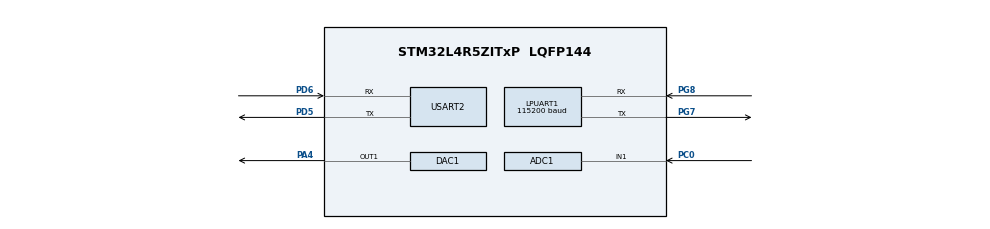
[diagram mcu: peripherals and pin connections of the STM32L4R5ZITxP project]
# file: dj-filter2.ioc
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ADC1.Channel-1\#ChannelRegularConversion=ADC_CHANNEL_1
ADC1.ClockPrescaler=ADC_CLOCK_ASYNC_DIV32
ADC1.NbrOfConversionFlag=1
ADC1.OffsetNumber-1\#ChannelRegularConversion=ADC_OFFSET_NONE
ADC1.Rank-1\#ChannelRegularConversion=1
ADC1.SamplingTime-1\#ChannelRegularConversion=ADC_SAMPLETIME_640CYCLES_5
ADC1.master=1
DAC1.DAC_Trigger-DAC_OUT1=DAC_TRIGGER_T2_TRGO
Dma.DAC1_CH1.0.Direction=DMA_MEMORY_TO_PERIPH
Dma.DAC1_CH1.0.EventEnable=DISABLE
Dma.DAC1_CH1.0.Instance=DMA1_Channel1
Dma.DAC1_CH1.0.MemDataAlignment=DMA_MDATAALIGN_BYTE
Dma.DAC1_CH1.0.MemInc=DMA_MINC_ENABLE
Dma.DAC1_CH1.0.Mode=DMA_CIRCULAR
Dma.DAC1_CH1.0.PeriphDataAlignment=DMA_PDATAALIGN_HALFWORD
Dma.DAC1_CH1.0.PeriphInc=DMA_PINC_DISABLE
Dma.DAC1_CH1.0.Polarity=HAL_DMAMUX_REQUEST_GEN_RISING
Dma.DAC1_CH1.0.Priority=DMA_PRIORITY_LOW
Dma.DAC1_CH1.0.RequestNumber=1
Dma.DAC1_CH1.0.SignalID=NONE
Dma.DAC1_CH1.0.SyncEnable=DISABLE
Dma.DAC1_CH1.0.SyncPolarity=HAL_DMAMUX_SYNC_NO_EVENT
Dma.DAC1_CH1.0.SyncRequestNumber=1
Dma.DAC1_CH1.0.SyncSignalID=NONE
Dma.LPUART1_RX.1.Direction=DMA_PERIPH_TO_MEMORY
Dma.LPUART1_RX.1.EventEnable=DISABLE
Dma.LPUART1_RX.1.Instance=DMA1_Channel2
Dma.LPUART1_RX.1.MemDataAlignment=DMA_MDATAALIGN_BYTE
Dma.LPUART1_RX.1.MemInc=DMA_MINC_ENABLE
Dma.LPUART1_RX.1.Mode=DMA_NORMAL
Dma.LPUART1_RX.1.PeriphDataAlignment=DMA_PDATAALIGN_BYTE
Dma.LPUART1_RX.1.PeriphInc=DMA_PINC_DISABLE
Dma.LPUART1_RX.1.Polarity=HAL_DMAMUX_REQUEST_GEN_RISING
Dma.LPUART1_RX.1.Priority=DMA_PRIORITY_LOW
Dma.LPUART1_RX.1.RequestNumber=1
Dma.LPUART1_RX.1.SignalID=NONE
Dma.LPUART1_RX.1.SyncEnable=DISABLE
Dma.LPUART1_RX.1.SyncPolarity=HAL_DMAMUX_SYNC_NO_EVENT
Dma.LPUART1_RX.1.SyncRequestNumber=1
Dma.LPUART1_RX.1.SyncSignalID=NONE
Dma.Request0=DAC1_CH1
Dma.Request1=LPUART1_RX
LPUART1.BaudRate=115200
LPUART1.WordLength=UART_WORDLENGTH_8B
Mcu.Family=STM32L4
Mcu.Name=STM32L4R5ZITxP
Mcu.Package=LQFP144
NVIC.DMA1_Channel1_IRQn=true\:0\:0\:false\:false\:true\:false\:true\:true
NVIC.DMA1_Channel2_IRQn=true\:0\:0\:false\:false\:true\:false\:true\:true
NVIC.PriorityGroup=NVIC_PRIORITYGROUP_4
PA0.Signal=S_TIM2_CH1
PA1.Signal=ADCx_IN6
PA10.Signal=USB_OTG_FS_ID
PA13\ (JTMS/SWDIO).Signal=SYS_JTMS-SWDIO
PA14\ (JTCK/SWCLK).Signal=SYS_JTCK-SWCLK
PA3.Signal=ADCx_IN8
PA4.Signal=COMP_DAC11_group
PA5.Signal=SPI1_SCK
PA6.Signal=SPI1_MISO
PA7.Signal=SPI1_MOSI
PA8.Signal=USB_OTG_FS_SOF
PA9.Signal=USB_OTG_FS_VBUS
PB0.Signal=S_TIM3_CH3
PB1.Signal=ADCx_IN16
PB10.Signal=S_TIM2_CH3
PB12.Signal=SAI2_FS_A
PB13.Signal=SAI2_SCK_A
PB14.Signal=S_TIM15_CH1
PB15.Signal=SAI2_SD_A
PB2.Signal=COMP1_INP
PB3\ (JTDO/TRACESWO).Signal=SPI3_SCK
PB4\ (NJTRST).Signal=SPI3_MISO
PB5.Signal=SPI3_MOSI
PB6.Signal=COMP2_INP
PB8.Signal=I2C1_SCL
PB9.Signal=I2C1_SDA
PC0.Signal=ADCx_IN1
PC1.Signal=ADCx_IN2
PC10.Signal=SDMMC1_D2
PC11.Signal=SDMMC1_D3
PC12.Signal=SDMMC1_CK
PC13.Signal=SYS_WKUP2
PC14-OSC32_IN\ (PC14).Signal=RCC_OSC32_IN
PC15-OSC32_OUT\ (PC15).Signal=RCC_OSC32_OUT
PC2.Signal=ADCx_IN3
PC3.Signal=ADCx_IN4
PC4.Signal=ADCx_IN13
PC5.Signal=ADCx_IN14
PC6.Signal=SAI2_MCLK_A
PC7.Signal=S_TIM3_CH2
PC8.Signal=SDMMC1_D0
PC9.Signal=SDMMC1_D1
PD0.Signal=CAN1_RX
PD14.Signal=S_TIM4_CH3
PD15.Signal=S_TIM4_CH4
PD2.Signal=SDMMC1_CMD
PD3.Signal=USART2_CTS
PD4.Signal=USART2_RTS
PD5.Mode=Asynchronous
PD5.Signal=USART2_TX
PD6.Mode=Asynchronous
PD6.Signal=USART2_RX
PD8.Signal=USART3_TX
PD9.Signal=USART3_RX
PE0.Signal=S_TIM4_ETR
PE10.Signal=TIM1_CH2N
PE11.Signal=S_TIM1_CH2
PE12.Signal=TIM1_CH3N
PE13.Signal=S_TIM1_CH3
PE14.Signal=TIM1_BKIN2
PE15.Signal=TIM1_BKIN
PE2.Signal=SAI1_MCLK_A
PE3.Signal=SAI1_SD_B
PE7.Signal=S_TIM1_ETR
PE8.Signal=TIM1_CH1N
PE9.Signal=S_TIM1_CH1
PF0.Signal=I2C2_SDA
PF1.Signal=I2C2_SCL
PF2.Signal=I2C2_SMBA
PF7.Signal=SAI1_MCLK_B
PG7.Mode=Asynchronous
PG7.Signal=LPUART1_TX
PG8.Mode=Asynchronous
PG8.Signal=LPUART1_RX
PH0-OSC_IN\ (PH0).Signal=RCC_OSC_IN
PH1-OSC_OUT\ (PH1).Signal=RCC_OSC_OUT
ProjectManager.HeapSize=0x200
ProjectManager.StackSize=0x400
ProjectManager.TargetToolchain=STM32CubeIDE
RCC.ADCFreq_Value=32000000
RCC.HSE_VALUE=8000000
RCC.HSI48_VALUE=48000000
RCC.HSI_VALUE=16000000
RCC.LSE_VALUE=32768
RCC.MSI_VALUE=4000000
RCC.PLLSAI1N=16
RCC.USBFreq_Value=32000000
RCC.VCOOutputFreq_Value=32000000
SH.ADCx_IN1.0=ADC1_IN1,IN1-Single-Ended
SH.ADCx_IN13.0=ADC1_IN13
SH.ADCx_IN14.0=ADC1_IN14
SH.ADCx_IN16.0=ADC1_IN16
SH.ADCx_IN2.0=ADC1_IN2
SH.ADCx_IN3.0=ADC1_IN3
SH.ADCx_IN4.0=ADC1_IN4
SH.ADCx_IN6.0=ADC1_IN6
SH.ADCx_IN8.0=ADC1_IN8
SH.COMP_DAC11_group.0=DAC1_OUT1,DAC_OUT1
SH.S_TIM15_CH1.0=TIM15_CH1
SH.S_TIM1_CH1.0=TIM1_CH1
SH.S_TIM1_CH2.0=TIM1_CH2
SH.S_TIM1_CH3.0=TIM1_CH3
SH.S_TIM1_ETR.0=TIM1_ETR
SH.S_TIM2_CH1.0=TIM2_CH1
SH.S_TIM2_CH3.0=TIM2_CH3
SH.S_TIM3_CH2.0=TIM3_CH2
SH.S_TIM3_CH3.0=TIM3_CH3
SH.S_TIM4_CH3.0=TIM4_CH3
SH.S_TIM4_CH4.0=TIM4_CH4
SH.S_TIM4_ETR.0=TIM4_ETR
TIM2.Period=499
TIM2.TIM_MasterOutputTrigger=TIM_TRGO_UPDATE
USART2.VirtualMode-Asynchronous=VM_ASYNC
VP_TIM2_VS_ClockSourceINT.Mode=Internal
board=NUCLEO-L4R5ZI-P

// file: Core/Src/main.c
/* USER CODE BEGIN Header */
/**
  ******************************************************************************
  * @file           : main.c
  * @brief          : Main program body
  ******************************************************************************
  * @attention
  *
  * Copyright (c) 2025 STMicroelectronics.
  * All rights reserved.
  *
  * This software is licensed under terms that can be found in the LICENSE file
  * in the root directory of this software component.
  * If no LICENSE file comes with this software, it is provided AS-IS.
  *
  ******************************************************************************
  */
/* USER CODE END Header */
#include "main.h"
#include "stdio.h"
#include "arm_math.h"

/* USER CODE BEGIN PD */
#define BLOCK_SIZE 16000
#define FILTER_TAP_NUM 32
/* USER CODE END PD */

ADC_HandleTypeDef hadc1;

DAC_HandleTypeDef hdac1;
DMA_HandleTypeDef hdma_dac1_ch1;

UART_HandleTypeDef hlpuart1;
UART_HandleTypeDef huart2;
DMA_HandleTypeDef hdma_lpuart1_rx;

TIM_HandleTypeDef htim2;

void SystemClock_Config(void);
static void MX_GPIO_Init(void);
static void MX_DMA_Init(void);
static void MX_ADC1_Init(void);
static void MX_DAC1_Init(void);
static void MX_LPUART1_UART_Init(void);
static void MX_USART2_UART_Init(void);
static void MX_TIM2_Init(void);

/* USER CODE BEGIN 0 */
/* USER CODE BEGIN 0 */
int audio_received = 0; //flag to indicate when audio data is received
int buffer_index = 0;

// DMA buffers
uint8_t rx_buffer_dma[BLOCK_SIZE] = {0}; //DMA buffer has a max size of 2^16
uint8_t dac_buffer[BLOCK_SIZE] = {0};
uint8_t tx_buffer[1] = {'S'};

void HAL_UART_RxCpltCallback(UART_HandleTypeDef *huart)
{
    // Optional: check which UART (if using multiple UARTs)
    if (huart->Instance == LPUART1) {
        // You now have BLOCK_SIZE bytes in rx_buffer_dma

        // Example: Start DAC DMA to play received data
        HAL_DAC_Start_DMA(&hdac1, DAC_CHANNEL_1, (uint32_t *)dac_buffer, BLOCK_SIZE, DAC_ALIGN_8B_R);
        HAL_TIM_Base_Start(&htim2);
    }
}
/* USER CODE END 0 */

int main(void)
{

  /* USER CODE BEGIN 1 */
	float32_t firCoeffsLP[FILTER_TAP_NUM];
	float32_t firStateLP[BLOCK_SIZE + FILTER_TAP_NUM - 1];
	arm_fir_instance_f32 firLP;
  /* USER CODE END 1 */

  /* MCU Configuration--------------------------------------------------------*/

  /* Reset of all peripherals, Initializes the Flash interface and the Systick. */
  HAL_Init();

  /* USER CODE BEGIN Init */
  void generateLowpassFIR(float cutoff, int numTaps, float *coeffs) {
      int M = numTaps - 1;
      for (int n = 0; n < numTaps; n++) {
          float x = n - M/2;
          float sinc = (x == 0) ? 2 * cutoff : sinf(2 * 3.14159265f * cutoff * x) / (3.14159265f * x);
          float window = 0.54f - 0.46f * cosf(2 * 3.14159265f * n / M);
          coeffs[n] = sinc * window;
      }
  }
  /* USER CODE END Init */

  /* Configure the system clock */
  SystemClock_Config();

  /* Initialize all configured peripherals */
  MX_GPIO_Init();
  MX_DMA_Init();
  MX_ADC1_Init();
  MX_DAC1_Init();
  MX_LPUART1_UART_Init();
  MX_USART2_UART_Init();
  MX_TIM2_Init();
  /* USER CODE BEGIN 2 */

  // Processing buffers
  float32_t inputBuffer[BLOCK_SIZE];
  float32_t outputBuffer[BLOCK_SIZE];

  typedef enum { LOW_PASS, HIGH_PASS } FilterMode;

  // Initialize FIR filters
  void init_filters(void) {
      arm_fir_init_f32(&firLP, FILTER_TAP_NUM, firCoeffsLP, firStateLP, BLOCK_SIZE);
  }

  init_filters();
  HAL_ADC_Start(&hadc1);
  HAL_UART_Receive_DMA(&hlpuart1, rx_buffer_dma, BLOCK_SIZE);
  /* USER CODE END 2 */

  /* Infinite loop */
  /* USER CODE BEGIN WHILE */
  while (1)
  {
	  HAL_ADC_Start(&hadc1);
	  HAL_ADC_PollForConversion(&hadc1, 10);
	  uint16_t adc_val = HAL_ADC_GetValue(&hadc1);

	  float cutoff_norm = 0.25f * (adc_val / 4095.0f); // ratio of cutoff frequency over sample frequency normalized with ADC value
	  generateLowpassFIR(cutoff_norm, FILTER_TAP_NUM, firCoeffsLP);
	  arm_fir_init_f32(&firLP, FILTER_TAP_NUM, firCoeffsLP, firStateLP, BLOCK_SIZE);

	  // Convert to float [-1,1]
	  for (int i = 0; i < BLOCK_SIZE; i++)
		  inputBuffer[i] = ((float)rx_buffer_dma[i] - 128) / 128.0f;

	  // Apply FIR filtering
	  arm_fir_f32(&firLP, inputBuffer, outputBuffer, BLOCK_SIZE);

	  // Convert back for DAC
	  for (int i = 0; i < BLOCK_SIZE; i++) {
		  float v = outputBuffer[i];
		  if(v > 1.0f) v = 1.0f;
		  if(v < -1.0f) v = -1.0f;
		  dac_buffer[i] = (uint8_t)(v * 127.0f + 128.0f);
	  }
    /* USER CODE END WHILE */

  }
}

void SystemClock_Config(void)
{
  RCC_OscInitTypeDef RCC_OscInitStruct = {0};
  RCC_ClkInitTypeDef RCC_ClkInitStruct = {0};

  /** Configure the main internal regulator output voltage
  */
  if (HAL_PWREx_ControlVoltageScaling(PWR_REGULATOR_VOLTAGE_SCALE1) != HAL_OK)
  {
    Error_Handler();
  }

  /** Initializes the RCC Oscillators according to the specified parameters
  * in the RCC_OscInitTypeDef structure.
  */
  RCC_OscInitStruct.OscillatorType = RCC_OSCILLATORTYPE_MSI;
  RCC_OscInitStruct.MSIState = RCC_MSI_ON;
  RCC_OscInitStruct.MSICalibrationValue = 0;
  RCC_OscInitStruct.MSIClockRange = RCC_MSIRANGE_6;
  RCC_OscInitStruct.PLL.PLLState = RCC_PLL_NONE;
  if (HAL_RCC_OscConfig(&RCC_OscInitStruct) != HAL_OK)
  {
    Error_Handler();
  }

  /** Initializes the CPU, AHB and APB buses clocks
  */
  RCC_ClkInitStruct.ClockType = RCC_CLOCKTYPE_HCLK|RCC_CLOCKTYPE_SYSCLK
                              |RCC_CLOCKTYPE_PCLK1|RCC_CLOCKTYPE_PCLK2;
  RCC_ClkInitStruct.SYSCLKSource = RCC_SYSCLKSOURCE_MSI;
  RCC_ClkInitStruct.AHBCLKDivider = RCC_SYSCLK_DIV1;
  RCC_ClkInitStruct.APB1CLKDivider = RCC_HCLK_DIV1;
  RCC_ClkInitStruct.APB2CLKDivider = RCC_HCLK_DIV1;

  if (HAL_RCC_ClockConfig(&RCC_ClkInitStruct, FLASH_LATENCY_0) != HAL_OK)
  {
    Error_Handler();
  }
}

static void MX_ADC1_Init(void)
{

  ADC_ChannelConfTypeDef sConfig = {0};

  /** Common config
  */
  hadc1.Instance = ADC1;
  hadc1.Init.ClockPrescaler = ADC_CLOCK_ASYNC_DIV32;
  hadc1.Init.Resolution = ADC_RESOLUTION_12B;
  hadc1.Init.DataAlign = ADC_DATAALIGN_RIGHT;
  hadc1.Init.ScanConvMode = ADC_SCAN_DISABLE;
  hadc1.Init.EOCSelection = ADC_EOC_SINGLE_CONV;
  hadc1.Init.LowPowerAutoWait = DISABLE;
  hadc1.Init.ContinuousConvMode = DISABLE;
  hadc1.Init.NbrOfConversion = 1;
  hadc1.Init.DiscontinuousConvMode = DISABLE;
  hadc1.Init.ExternalTrigConv = ADC_SOFTWARE_START;
  hadc1.Init.ExternalTrigConvEdge = ADC_EXTERNALTRIGCONVEDGE_NONE;
  hadc1.Init.DMAContinuousRequests = DISABLE;
  hadc1.Init.Overrun = ADC_OVR_DATA_PRESERVED;
  hadc1.Init.OversamplingMode = DISABLE;
  if (HAL_ADC_Init(&hadc1) != HAL_OK)
  {
    Error_Handler();
  }

  /** Configure Regular Channel
  */
  sConfig.Channel = ADC_CHANNEL_1;
  sConfig.Rank = ADC_REGULAR_RANK_1;
  sConfig.SamplingTime = ADC_SAMPLETIME_640CYCLES_5;
  sConfig.SingleDiff = ADC_SINGLE_ENDED;
  sConfig.OffsetNumber = ADC_OFFSET_NONE;
  sConfig.Offset = 0;
  if (HAL_ADC_ConfigChannel(&hadc1, &sConfig) != HAL_OK)
  {
    Error_Handler();
  }

}

static void MX_DAC1_Init(void)
{

  DAC_ChannelConfTypeDef sConfig = {0};

  /** DAC Initialization
  */
  hdac1.Instance = DAC1;
  if (HAL_DAC_Init(&hdac1) != HAL_OK)
  {
    Error_Handler();
  }

  /** DAC channel OUT1 config
  */
  sConfig.DAC_SampleAndHold = DAC_SAMPLEANDHOLD_DISABLE;
  sConfig.DAC_Trigger = DAC_TRIGGER_T2_TRGO;
  sConfig.DAC_HighFrequency = DAC_HIGH_FREQUENCY_INTERFACE_MODE_DISABLE;
  sConfig.DAC_OutputBuffer = DAC_OUTPUTBUFFER_ENABLE;
  sConfig.DAC_ConnectOnChipPeripheral = DAC_CHIPCONNECT_DISABLE;
  sConfig.DAC_UserTrimming = DAC_TRIMMING_FACTORY;
  if (HAL_DAC_ConfigChannel(&hdac1, &sConfig, DAC_CHANNEL_1) != HAL_OK)
  {
    Error_Handler();
  }

}

static void MX_LPUART1_UART_Init(void)
{

  hlpuart1.Instance = LPUART1;
  hlpuart1.Init.BaudRate = 115200;
  hlpuart1.Init.WordLength = UART_WORDLENGTH_8B;
  hlpuart1.Init.StopBits = UART_STOPBITS_1;
  hlpuart1.Init.Parity = UART_PARITY_NONE;
  hlpuart1.Init.Mode = UART_MODE_TX_RX;
  hlpuart1.Init.HwFlowCtl = UART_HWCONTROL_NONE;
  hlpuart1.Init.OneBitSampling = UART_ONE_BIT_SAMPLE_DISABLE;
  hlpuart1.Init.ClockPrescaler = UART_PRESCALER_DIV1;
  hlpuart1.AdvancedInit.AdvFeatureInit = UART_ADVFEATURE_NO_INIT;
  hlpuart1.FifoMode = UART_FIFOMODE_DISABLE;
  if (HAL_UART_Init(&hlpuart1) != HAL_OK)
  {
    Error_Handler();
  }
  if (HAL_UARTEx_SetTxFifoThreshold(&hlpuart1, UART_TXFIFO_THRESHOLD_1_8) != HAL_OK)
  {
    Error_Handler();
  }
  if (HAL_UARTEx_SetRxFifoThreshold(&hlpuart1, UART_RXFIFO_THRESHOLD_1_8) != HAL_OK)
  {
    Error_Handler();
  }
  if (HAL_UARTEx_DisableFifoMode(&hlpuart1) != HAL_OK)
  {
    Error_Handler();
  }

}

static void MX_USART2_UART_Init(void)
{

  huart2.Instance = USART2;
  huart2.Init.BaudRate = 115200;
  huart2.Init.WordLength = UART_WORDLENGTH_8B;
  huart2.Init.StopBits = UART_STOPBITS_1;
  huart2.Init.Parity = UART_PARITY_NONE;
  huart2.Init.Mode = UART_MODE_TX_RX;
  huart2.Init.HwFlowCtl = UART_HWCONTROL_NONE;
  huart2.Init.OverSampling = UART_OVERSAMPLING_16;
  huart2.Init.OneBitSampling = UART_ONE_BIT_SAMPLE_DISABLE;
  huart2.Init.ClockPrescaler = UART_PRESCALER_DIV1;
  huart2.AdvancedInit.AdvFeatureInit = UART_ADVFEATURE_NO_INIT;
  if (HAL_UART_Init(&huart2) != HAL_OK)
  {
    Error_Handler();
  }
  if (HAL_UARTEx_SetTxFifoThreshold(&huart2, UART_TXFIFO_THRESHOLD_1_8) != HAL_OK)
  {
    Error_Handler();
  }
  if (HAL_UARTEx_SetRxFifoThreshold(&huart2, UART_RXFIFO_THRESHOLD_1_8) != HAL_OK)
  {
    Error_Handler();
  }
  if (HAL_UARTEx_DisableFifoMode(&huart2) != HAL_OK)
  {
    Error_Handler();
  }

}

static void MX_TIM2_Init(void)
{

  TIM_ClockConfigTypeDef sClockSourceConfig = {0};
  TIM_MasterConfigTypeDef sMasterConfig = {0};

  htim2.Instance = TIM2;
  htim2.Init.Prescaler = 0;
  htim2.Init.CounterMode = TIM_COUNTERMODE_UP;
  htim2.Init.Period = 499;
  htim2.Init.ClockDivision = TIM_CLOCKDIVISION_DIV1;
  htim2.Init.AutoReloadPreload = TIM_AUTORELOAD_PRELOAD_DISABLE;
  if (HAL_TIM_Base_Init(&htim2) != HAL_OK)
  {
    Error_Handler();
  }
  sClockSourceConfig.ClockSource = TIM_CLOCKSOURCE_INTERNAL;
  if (HAL_TIM_ConfigClockSource(&htim2, &sClockSourceConfig) != HAL_OK)
  {
    Error_Handler();
  }
  sMasterConfig.MasterOutputTrigger = TIM_TRGO_UPDATE;
  sMasterConfig.MasterSlaveMode = TIM_MASTERSLAVEMODE_DISABLE;
  if (HAL_TIMEx_MasterConfigSynchronization(&htim2, &sMasterConfig) != HAL_OK)
  {
    Error_Handler();
  }

}

static void MX_DMA_Init(void)
{

  /* DMA controller clock enable */
  __HAL_RCC_DMAMUX1_CLK_ENABLE();
  __HAL_RCC_DMA1_CLK_ENABLE();

  /* DMA interrupt init */
  /* DMA1_Channel1_IRQn interrupt configuration */
  HAL_NVIC_SetPriority(DMA1_Channel1_IRQn, 0, 0);
  HAL_NVIC_EnableIRQ(DMA1_Channel1_IRQn);
  /* DMA1_Channel2_IRQn interrupt configuration */
  HAL_NVIC_SetPriority(DMA1_Channel2_IRQn, 0, 0);
  HAL_NVIC_EnableIRQ(DMA1_Channel2_IRQn);

}

static void MX_GPIO_Init(void)
{
  GPIO_InitTypeDef GPIO_InitStruct = {0};

  /* GPIO Ports Clock Enable */
  __HAL_RCC_GPIOE_CLK_ENABLE();
  __HAL_RCC_GPIOC_CLK_ENABLE();
  __HAL_RCC_GPIOF_CLK_ENABLE();
  __HAL_RCC_GPIOH_CLK_ENABLE();
  __HAL_RCC_GPIOA_CLK_ENABLE();
  __HAL_RCC_GPIOB_CLK_ENABLE();
  __HAL_RCC_GPIOD_CLK_ENABLE();
  __HAL_RCC_GPIOG_CLK_ENABLE();
  HAL_PWREx_EnableVddIO2();

  /*Configure GPIO pins : PE2 PE3 */
  GPIO_InitStruct.Pin = GPIO_PIN_2|GPIO_PIN_3;
  GPIO_InitStruct.Mode = GPIO_MODE_AF_PP;
  GPIO_InitStruct.Pull = GPIO_NOPULL;
  GPIO_InitStruct.Speed = GPIO_SPEED_FREQ_LOW;
  GPIO_InitStruct.Alternate = GPIO_AF13_SAI1;
  HAL_GPIO_Init(GPIOE, &GPIO_InitStruct);

  /*Configure GPIO pins : PF0 PF1 PF2 */
  GPIO_InitStruct.Pin = GPIO_PIN_0|GPIO_PIN_1|GPIO_PIN_2;
  GPIO_InitStruct.Mode = GPIO_MODE_AF_OD;
  GPIO_InitStruct.Pull = GPIO_NOPULL;
  GPIO_InitStruct.Speed = GPIO_SPEED_FREQ_VERY_HIGH;
  GPIO_InitStruct.Alternate = GPIO_AF4_I2C2;
  HAL_GPIO_Init(GPIOF, &GPIO_InitStruct);

  /*Configure GPIO pin : PF7 */
  GPIO_InitStruct.Pin = GPIO_PIN_7;
  GPIO_InitStruct.Mode = GPIO_MODE_AF_PP;
  GPIO_InitStruct.Pull = GPIO_NOPULL;
  GPIO_InitStruct.Speed = GPIO_SPEED_FREQ_LOW;
  GPIO_InitStruct.Alternate = GPIO_AF13_SAI1;
  HAL_GPIO_Init(GPIOF, &GPIO_InitStruct);

  /*Configure GPIO pins : PA5 PA6 PA7 */
  GPIO_InitStruct.Pin = GPIO_PIN_5|GPIO_PIN_6|GPIO_PIN_7;
  GPIO_InitStruct.Mode = GPIO_MODE_AF_PP;
  GPIO_InitStruct.Pull = GPIO_NOPULL;
  GPIO_InitStruct.Speed = GPIO_SPEED_FREQ_VERY_HIGH;
  GPIO_InitStruct.Alternate = GPIO_AF5_SPI1;
  HAL_GPIO_Init(GPIOA, &GPIO_InitStruct);

  /*Configure GPIO pin : PB0 */
  GPIO_InitStruct.Pin = GPIO_PIN_0;
  GPIO_InitStruct.Mode = GPIO_MODE_AF_PP;
  GPIO_InitStruct.Pull = GPIO_NOPULL;
  GPIO_InitStruct.Speed = GPIO_SPEED_FREQ_LOW;
  GPIO_InitStruct.Alternate = GPIO_AF2_TIM3;
  HAL_GPIO_Init(GPIOB, &GPIO_InitStruct);

  /*Configure GPIO pins : PB2 PB6 */
  GPIO_InitStruct.Pin = GPIO_PIN_2|GPIO_PIN_6;
  GPIO_InitStruct.Mode = GPIO_MODE_ANALOG;
  GPIO_InitStruct.Pull = GPIO_NOPULL;
  HAL_GPIO_Init(GPIOB, &GPIO_InitStruct);

  /*Configure GPIO pins : PE7 PE8 PE9 PE10
                           PE11 PE12 PE13 */
  GPIO_InitStruct.Pin = GPIO_PIN_7|GPIO_PIN_8|GPIO_PIN_9|GPIO_PIN_10
                          |GPIO_PIN_11|GPIO_PIN_12|GPIO_PIN_13;
  GPIO_InitStruct.Mode = GPIO_MODE_AF_PP;
  GPIO_InitStruct.Pull = GPIO_NOPULL;
  GPIO_InitStruct.Speed = GPIO_SPEED_FREQ_LOW;
  GPIO_InitStruct.Alternate = GPIO_AF1_TIM1;
  HAL_GPIO_Init(GPIOE, &GPIO_InitStruct);

  /*Configure GPIO pins : PE14 PE15 */
  GPIO_InitStruct.Pin = GPIO_PIN_14|GPIO_PIN_15;
  GPIO_InitStruct.Mode = GPIO_MODE_AF_PP;
  GPIO_InitStruct.Pull = GPIO_NOPULL;
  GPIO_InitStruct.Speed = GPIO_SPEED_FREQ_LOW;
  GPIO_InitStruct.Alternate = GPIO_AF3_TIM1_COMP1;
  HAL_GPIO_Init(GPIOE, &GPIO_InitStruct);

  /*Configure GPIO pins : PB12 PB13 PB15 */
  GPIO_InitStruct.Pin = GPIO_PIN_12|GPIO_PIN_13|GPIO_PIN_15;
  GPIO_InitStruct.Mode = GPIO_MODE_AF_PP;
  GPIO_InitStruct.Pull = GPIO_NOPULL;
  GPIO_InitStruct.Speed = GPIO_SPEED_FREQ_LOW;
  GPIO_InitStruct.Alternate = GPIO_AF13_SAI2;
  HAL_GPIO_Init(GPIOB, &GPIO_InitStruct);

  /*Configure GPIO pin : PB14 */
  GPIO_InitStruct.Pin = GPIO_PIN_14;
  GPIO_InitStruct.Mode = GPIO_MODE_AF_PP;
  GPIO_InitStruct.Pull = GPIO_NOPULL;
  GPIO_InitStruct.Speed = GPIO_SPEED_FREQ_LOW;
  GPIO_InitStruct.Alternate = GPIO_AF14_TIM15;
  HAL_GPIO_Init(GPIOB, &GPIO_InitStruct);

  /*Configure GPIO pins : PD8 PD9 */
  GPIO_InitStruct.Pin = GPIO_PIN_8|GPIO_PIN_9;
  GPIO_InitStruct.Mode = GPIO_MODE_AF_PP;
  GPIO_InitStruct.Pull = GPIO_NOPULL;
  GPIO_InitStruct.Speed = GPIO_SPEED_FREQ_VERY_HIGH;
  GPIO_InitStruct.Alternate = GPIO_AF7_USART3;
  HAL_GPIO_Init(GPIOD, &GPIO_InitStruct);

  /*Configure GPIO pins : PD14 PD15 */
  GPIO_InitStruct.Pin = GPIO_PIN_14|GPIO_PIN_15;
  GPIO_InitStruct.Mode = GPIO_MODE_AF_PP;
  GPIO_InitStruct.Pull = GPIO_NOPULL;
  GPIO_InitStruct.Speed = GPIO_SPEED_FREQ_LOW;
  GPIO_InitStruct.Alternate = GPIO_AF2_TIM4;
  HAL_GPIO_Init(GPIOD, &GPIO_InitStruct);

  /*Configure GPIO pin : PC6 */
  GPIO_InitStruct.Pin = GPIO_PIN_6;
  GPIO_InitStruct.Mode = GPIO_MODE_AF_PP;
  GPIO_InitStruct.Pull = GPIO_NOPULL;
  GPIO_InitStruct.Speed = GPIO_SPEED_FREQ_LOW;
  GPIO_InitStruct.Alternate = GPIO_AF13_SAI2;
  HAL_GPIO_Init(GPIOC, &GPIO_InitStruct);

  /*Configure GPIO pin : PC7 */
  GPIO_InitStruct.Pin = GPIO_PIN_7;
  GPIO_InitStruct.Mode = GPIO_MODE_AF_PP;
  GPIO_InitStruct.Pull = GPIO_NOPULL;
  GPIO_InitStruct.Speed = GPIO_SPEED_FREQ_LOW;
  GPIO_InitStruct.Alternate = GPIO_AF2_TIM3;
  HAL_GPIO_Init(GPIOC, &GPIO_InitStruct);

  /*Configure GPIO pins : PC8 PC9 PC10 PC11
                           PC12 */
  GPIO_InitStruct.Pin = GPIO_PIN_8|GPIO_PIN_9|GPIO_PIN_10|GPIO_PIN_11
                          |GPIO_PIN_12;
  GPIO_InitStruct.Mode = GPIO_MODE_AF_PP;
  GPIO_InitStruct.Pull = GPIO_NOPULL;
  GPIO_InitStruct.Speed = GPIO_SPEED_FREQ_VERY_HIGH;
  GPIO_InitStruct.Alternate = GPIO_AF12_SDMMC1;
  HAL_GPIO_Init(GPIOC, &GPIO_InitStruct);

  /*Configure GPIO pins : PA8 PA10 */
  GPIO_InitStruct.Pin = GPIO_PIN_8|GPIO_PIN_10;
  GPIO_InitStruct.Mode = GPIO_MODE_AF_PP;
  GPIO_InitStruct.Pull = GPIO_NOPULL;
  GPIO_InitStruct.Speed = GPIO_SPEED_FREQ_VERY_HIGH;
  GPIO_InitStruct.Alternate = GPIO_AF10_OTG_FS;
  HAL_GPIO_Init(GPIOA, &GPIO_InitStruct);

  /*Configure GPIO pin : PA9 */
  GPIO_InitStruct.Pin = GPIO_PIN_9;
  GPIO_InitStruct.Mode = GPIO_MODE_INPUT;
  GPIO_InitStruct.Pull = GPIO_NOPULL;
  HAL_GPIO_Init(GPIOA, &GPIO_InitStruct);

  /*Configure GPIO pin : PD0 */
  GPIO_InitStruct.Pin = GPIO_PIN_0;
  GPIO_InitStruct.Mode = GPIO_MODE_AF_PP;
  GPIO_InitStruct.Pull = GPIO_NOPULL;
  GPIO_InitStruct.Speed = GPIO_SPEED_FREQ_VERY_HIGH;
  GPIO_InitStruct.Alternate = GPIO_AF9_CAN1;
  HAL_GPIO_Init(GPIOD, &GPIO_InitStruct);

  /*Configure GPIO pin : PD2 */
  GPIO_InitStruct.Pin = GPIO_PIN_2;
  GPIO_InitStruct.Mode = GPIO_MODE_AF_PP;
  GPIO_InitStruct.Pull = GPIO_NOPULL;
  GPIO_InitStruct.Speed = GPIO_SPEED_FREQ_VERY_HIGH;
  GPIO_InitStruct.Alternate = GPIO_AF12_SDMMC1;
  HAL_GPIO_Init(GPIOD, &GPIO_InitStruct);

  /*Configure GPIO pins : PB3 PB4 PB5 */
  GPIO_InitStruct.Pin = GPIO_PIN_3|GPIO_PIN_4|GPIO_PIN_5;
  GPIO_InitStruct.Mode = GPIO_MODE_AF_PP;
  GPIO_InitStruct.Pull = GPIO_NOPULL;
  GPIO_InitStruct.Speed = GPIO_SPEED_FREQ_VERY_HIGH;
  GPIO_InitStruct.Alternate = GPIO_AF6_SPI3;
  HAL_GPIO_Init(GPIOB, &GPIO_InitStruct);

  /*Configure GPIO pins : PB8 PB9 */
  GPIO_InitStruct.Pin = GPIO_PIN_8|GPIO_PIN_9;
  GPIO_InitStruct.Mode = GPIO_MODE_AF_OD;
  GPIO_InitStruct.Pull = GPIO_NOPULL;
  GPIO_InitStruct.Speed = GPIO_SPEED_FREQ_VERY_HIGH;
  GPIO_InitStruct.Alternate = GPIO_AF4_I2C1;
  HAL_GPIO_Init(GPIOB, &GPIO_InitStruct);

  /*Configure GPIO pin : PE0 */
  GPIO_InitStruct.Pin = GPIO_PIN_0;
  GPIO_InitStruct.Mode = GPIO_MODE_AF_PP;
  GPIO_InitStruct.Pull = GPIO_NOPULL;
  GPIO_InitStruct.Speed = GPIO_SPEED_FREQ_LOW;
  GPIO_InitStruct.Alternate = GPIO_AF2_TIM4;
  HAL_GPIO_Init(GPIOE, &GPIO_InitStruct);

}

/* USER CODE BEGIN 4 */
#ifdef __GNUC__
#define PUTCHAR_PROTOTYPE int __io_putchar(int ch)
#else
  #define PUTCHAR_PROTOTYPE int fputc(int ch, FILE *f)
#endif /* __GNUC__ */
PUTCHAR_PROTOTYPE
{
  HAL_UART_Transmit(&hlpuart1, (uint8_t *)&ch, 1, 0xFFFF);
  return ch;
}
/* USER CODE END 4 */

void Error_Handler(void)
{
  __disable_irq();
  while (1)
  {
  }
}
